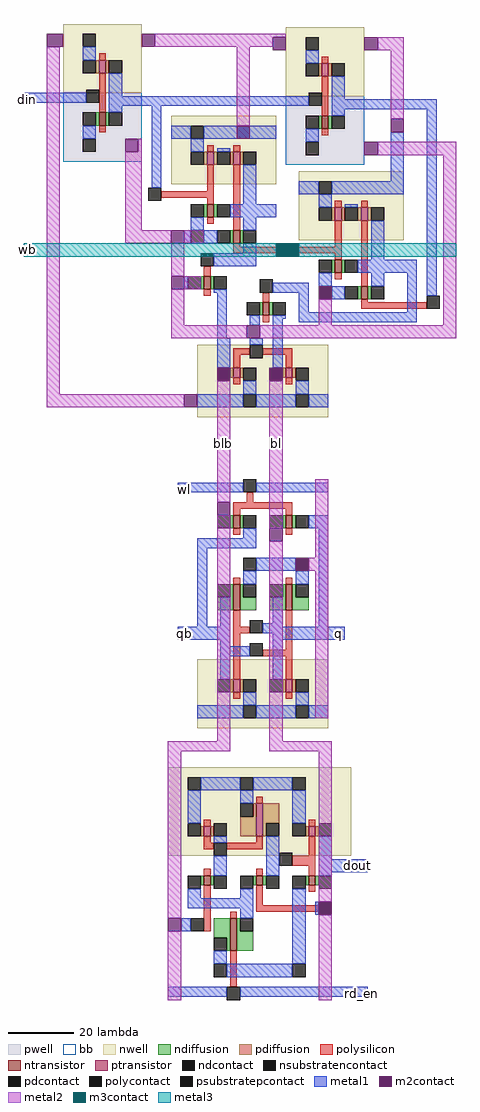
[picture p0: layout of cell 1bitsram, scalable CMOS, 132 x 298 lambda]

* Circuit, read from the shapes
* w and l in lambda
.subckt 1bitsram bl blb din dout gnd! q qb rd_en vdd! wb wl
M1 writedriver_0/inv_1/in din gnd! gnd! nfet w=4 l=2
M2 senseamp_0/2 blb senseamp_0/3 gnd! nfet w=3 l=2
M3 blb writedriver_0/nor_0/out gnd! gnd! nfet w=4 l=2
M4 writedriver_0/nor_0/out writedriver_0/inv_1/in gnd! gnd! nfet w=4 l=2
M5 senseamp_0/3 rd_en gnd! gnd! nfet w=10 l=2
M6 gnd! q qb gnd! nfet w=8 l=2
M7 qb wl blb gnd! nfet w=4 l=2
M8 writedriver_0/nor_0/out wb gnd! gnd! nfet w=4 l=2
M9 senseamp_0/out bl senseamp_0/3 gnd! nfet w=3 l=2
M10 bl writedriver_0/nor_1/out gnd! gnd! nfet w=4 l=2
M11 gnd! qb q gnd! nfet w=8 l=2
M12 q wl bl gnd! nfet w=4 l=2
M13 dout senseamp_0/out gnd! gnd! nfet w=3 l=2
M14 writedriver_0/nor_1/in1 writedriver_0/inv_1/in gnd! gnd! nfet w=4 l=2
M15 writedriver_0/nor_1/out wb gnd! gnd! nfet w=4 l=2
M16 writedriver_0/nor_1/out writedriver_0/nor_1/in1 gnd! gnd! nfet w=4 l=2
M17 writedriver_0/inv_1/in din vdd! vdd! pfet w=4 l=2
M18 senseamp_0/2 senseamp_0/2 vdd! vdd! pfet w=3 l=2
M19 writedriver_0/nor_0/temp writedriver_0/inv_1/in vdd! vdd! pfet w=4 l=2
M20 vdd! q qb vdd! pfet w=4 l=2
M21 vdd! gnd! blb vdd! pfet w=3 l=2
M22 writedriver_0/nor_0/out wb writedriver_0/nor_0/temp vdd! pfet w=4 l=2
M23 senseamp_0/out senseamp_0/2 vdd! vdd! pfet w=10 l=2
M24 vdd! qb q vdd! pfet w=4 l=2
M25 vdd! gnd! bl vdd! pfet w=3 l=2
M26 dout senseamp_0/out vdd! vdd! pfet w=3 l=2
M27 writedriver_0/nor_1/in1 writedriver_0/inv_1/in vdd! vdd! pfet w=4 l=2
M28 writedriver_0/nor_1/temp wb vdd! vdd! pfet w=4 l=2
M29 writedriver_0/nor_1/out writedriver_0/nor_1/in1 writedriver_0/nor_1/temp vdd! pfet w=4 l=2
.ends

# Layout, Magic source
magic
tech scmos
<< metal1 >>
rect -87 197 -84 200
rect -40 78 -34 81
rect -40 33 -34 37
rect 5 33 11 37
rect 13 -38 18 -34
rect 13 -76 18 -73
<< metal2 >>
rect -28 82 -24 100
rect -12 82 -8 100
rect -28 2 -24 9
rect -43 -1 -24 2
rect -12 2 -8 10
rect -12 -1 7 2
rect -43 -9 -39 -1
rect 3 -9 7 -1
<< metal3 >>
rect -87 150 -84 154
use writedriver  writedriver_0
transform 1 0 -75 0 1 182
box -9 -82 120 39
use cell6T  cell6T_0
transform -1 0 -7 0 -1 21
box -13 -61 27 15
use senseamp  senseamp_0
transform 1 0 -27 0 1 -26
box -16 -51 40 20
<< labels >>
rlabel metal2 -26 93 -26 93 1 blb
rlabel metal2 -10 93 -10 93 1 bl
rlabel metal3 -86 152 -86 152 3 wb
rlabel metal1 -86 198 -86 198 3 din
rlabel metal1 -38 79 -38 79 1 wl
rlabel metal1 -38 35 -38 35 1 qb
rlabel metal1 9 35 9 35 1 q
rlabel metal1 15 -36 15 -36 1 dout
rlabel metal1 16 -75 16 -75 1 rd_en
<< end >>

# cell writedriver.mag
magic
tech scmos
<< ntransistor >>
rect 43 -42 45 -38
rect 61 -50 63 -46
<< ndiffusion >>
rect 42 -42 43 -38
rect 45 -42 46 -38
rect 60 -50 61 -46
rect 63 -50 64 -46
<< ndcontact >>
rect 38 -42 42 -38
rect 46 -42 50 -38
rect 56 -50 60 -46
rect 64 -50 68 -46
<< polysilicon >>
rect 30 -14 33 -12
rect 43 -38 45 -35
rect 43 -44 45 -42
rect 61 -46 63 -43
rect 104 -48 111 -46
rect 61 -52 63 -50
<< polycontact >>
rect 26 -15 30 -11
rect 42 -35 46 -31
rect 65 -32 72 -28
rect 60 -43 64 -39
rect 111 -48 115 -44
<< metal1 >>
rect -9 15 0 18
rect 24 14 68 17
rect 27 -11 30 14
rect 92 13 114 16
rect 100 -13 104 6
rect 37 -28 39 -24
rect 55 -31 59 -28
rect 46 -35 59 -31
rect 104 -37 108 -33
rect 37 -42 38 -38
rect 46 -43 50 -42
rect 64 -43 75 -40
rect 47 -57 50 -43
rect 57 -53 60 -50
rect 64 -51 68 -50
rect 72 -49 75 -43
rect 105 -49 108 -37
rect 111 -44 114 13
rect 64 -57 67 -51
rect 72 -52 108 -49
<< m2contact >>
rect -5 32 0 36
rect 24 32 28 36
rect 64 31 68 35
rect 92 31 96 35
rect 19 0 23 4
rect 53 4 57 8
rect 100 6 104 10
rect 92 -1 96 3
rect 33 -28 37 -24
rect 65 -32 72 -28
rect 33 -42 37 -38
rect 56 -57 60 -53
rect 78 -45 82 -41
rect 47 -70 51 -66
rect 63 -70 67 -66
rect 37 -78 41 -74
<< metal2 >>
rect 28 35 68 36
rect 28 32 64 35
rect -5 -74 -1 32
rect 53 8 57 32
rect 96 31 104 35
rect 100 10 104 31
rect 23 0 24 4
rect 19 -24 24 0
rect 96 -1 120 3
rect 19 -28 33 -24
rect 37 -28 43 -24
rect 33 -38 37 -28
rect 37 -42 42 -38
rect 33 -53 37 -42
rect 78 -53 82 -45
rect 116 -53 120 -1
rect 33 -57 56 -53
rect 60 -57 120 -53
rect -5 -78 37 -74
rect 47 -82 51 -70
rect 63 -82 67 -70
<< m3contact >>
rect 65 -32 72 -28
<< metal3 >>
rect -9 -32 65 -28
rect 72 -32 120 -28
use inv  inv_0
transform 1 0 9 0 1 21
box -9 -21 15 18
use nor  nor_0
transform 1 0 46 0 1 -4
box -13 -27 19 15
use inv  inv_1
transform 1 0 77 0 1 20
box -9 -21 15 18
use nor  nor_1
transform 1 0 85 0 1 -21
box -13 -27 19 15
use precharge  precharge_0
transform -1 0 68 0 -1 -67
box -13 -10 27 14
<< labels >>
rlabel metal1 -8 16 -8 16 3 din
rlabel polycontact 70 -30 70 -30 1 wb
rlabel metal1 48 -52 48 -52 1 blb
rlabel metal1 65 -52 65 -52 1 bl
<< end >>

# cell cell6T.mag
magic
tech scmos
<< nwell >>
rect -13 -6 27 15
<< ntransistor >>
rect -2 -29 0 -21
rect 14 -29 16 -21
rect -2 -50 0 -46
rect 14 -50 16 -46
<< ptransistor >>
rect -2 0 0 4
rect 14 0 16 4
<< ndiffusion >>
rect -7 -25 -2 -21
rect -3 -29 -2 -25
rect 0 -25 5 -21
rect 0 -29 1 -25
rect 9 -25 14 -21
rect 13 -29 14 -25
rect 16 -25 21 -21
rect 16 -29 17 -25
rect -3 -50 -2 -46
rect 0 -50 1 -46
rect 13 -50 14 -46
rect 16 -50 17 -46
<< pdiffusion >>
rect -3 0 -2 4
rect 0 0 1 4
rect 13 0 14 4
rect 16 0 17 4
<< ndcontact >>
rect -7 -29 -3 -25
rect 1 -29 5 -25
rect 9 -29 13 -25
rect 17 -29 21 -25
rect -7 -50 -3 -46
rect 1 -50 5 -46
rect 9 -50 13 -46
rect 17 -50 21 -46
<< pdcontact >>
rect -7 0 -3 4
rect 1 0 5 4
rect 9 0 13 4
rect 17 0 21 4
<< psubstratepcontact >>
rect -7 -37 -3 -33
rect 9 -37 13 -33
<< nsubstratencontact >>
rect -7 8 -3 12
rect 9 8 13 12
<< polysilicon >>
rect -2 4 0 6
rect 14 4 16 6
rect -2 -7 0 0
rect -2 -9 7 -7
rect -2 -21 0 -9
rect 14 -14 16 0
rect 11 -16 16 -14
rect 14 -21 16 -16
rect -2 -31 0 -29
rect 14 -31 16 -29
rect -2 -46 0 -44
rect 14 -46 16 -44
rect -2 -52 0 -50
rect 14 -52 16 -50
rect -2 -54 16 -52
rect 10 -57 12 -54
<< polycontact >>
rect 7 -11 11 -7
rect 7 -18 11 -14
rect 9 -61 13 -57
<< metal1 >>
rect -13 8 -7 12
rect -3 8 9 12
rect 13 8 27 12
rect -7 4 -3 8
rect 9 4 13 8
rect 1 -12 4 0
rect 17 -7 20 0
rect 11 -10 20 -7
rect -13 -14 4 -12
rect 17 -12 20 -10
rect -13 -16 7 -14
rect -13 -46 -10 -16
rect 1 -17 7 -16
rect 1 -25 4 -17
rect 17 -16 27 -12
rect 17 -25 20 -16
rect -7 -33 -3 -29
rect 9 -33 13 -29
rect -3 -37 9 -33
rect 24 -40 27 -16
rect -13 -50 -7 -46
rect 9 -43 27 -40
rect 9 -46 13 -43
rect -13 -60 9 -57
rect 13 -60 27 -57
<< m2contact >>
rect -7 -37 -3 -33
rect 1 -46 5 -42
rect 17 -54 21 -50
<< metal2 >>
rect -13 -33 -9 12
rect -13 -37 -7 -33
rect -13 -61 -9 -37
rect 1 -42 5 12
rect 1 -61 5 -46
rect 17 -50 21 12
rect 17 -61 21 -54
<< labels >>
rlabel metal1 24 10 24 10 6 vdd!
rlabel metal2 -11 -9 -11 -9 3 gnd!
rlabel metal1 -6 -14 -6 -14 1 q
rlabel metal1 24 -14 24 -14 7 qb
rlabel metal2 3 -39 3 -39 1 bl
rlabel metal2 19 -39 19 -39 1 blb
rlabel metal1 8 -59 8 -59 1 wl
<< end >>

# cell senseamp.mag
magic
tech scmos
<< nwell >>
rect -16 -7 40 20
<< ntransistor >>
rect -5 -16 -3 -13
rect 11 -16 13 -13
rect 27 -16 29 -13
rect 3 -36 5 -26
<< ptransistor >>
rect -5 -1 -3 2
rect 11 -1 13 9
rect 27 -1 29 2
<< ndiffusion >>
rect -6 -16 -5 -13
rect -3 -16 -2 -13
rect 10 -16 11 -13
rect 13 -16 14 -13
rect 26 -16 27 -13
rect 29 -16 30 -13
rect -2 -32 3 -26
rect 2 -36 3 -32
rect 5 -30 6 -26
rect 5 -36 10 -30
<< pdiffusion >>
rect 10 5 11 9
rect -6 -1 -5 2
rect -3 -1 -2 2
rect 6 -1 11 5
rect 13 3 18 9
rect 13 -1 14 3
rect 26 -1 27 2
rect 29 -1 30 2
<< ndcontact >>
rect -10 -17 -6 -13
rect -2 -17 2 -13
rect 6 -17 10 -13
rect 14 -17 18 -13
rect 22 -17 26 -13
rect 30 -17 34 -13
rect -2 -36 2 -32
rect 6 -30 10 -26
<< pdcontact >>
rect 6 5 10 9
rect -10 -1 -6 3
rect -2 -1 2 3
rect 14 -1 18 3
rect 22 -1 26 3
rect 30 -1 34 3
<< psubstratepcontact >>
rect -2 -44 2 -40
rect 22 -44 26 -40
<< nsubstratencontact >>
rect -10 13 -6 17
rect 6 13 10 17
rect 22 13 26 17
<< polysilicon >>
rect 11 9 13 11
rect -5 2 -3 4
rect 27 2 29 4
rect -5 -3 -3 -1
rect 11 -3 13 -1
rect -5 -5 -2 -3
rect 2 -5 13 -3
rect 27 -7 29 -1
rect 22 -10 29 -7
rect -5 -13 -3 -11
rect 11 -13 13 -11
rect 27 -13 29 -10
rect -5 -30 -3 -16
rect 11 -22 13 -16
rect 27 -18 29 -16
rect 11 -24 30 -22
rect 3 -26 5 -24
rect 3 -47 5 -36
<< polycontact >>
rect -2 -7 2 -3
rect 18 -10 22 -6
rect -9 -30 -5 -26
rect 30 -25 34 -21
rect 2 -51 6 -47
<< metal1 >>
rect -6 13 6 17
rect 10 13 22 17
rect -10 3 -6 13
rect 6 9 10 13
rect 22 3 26 13
rect -2 -3 2 -1
rect -2 -13 2 -7
rect 14 -13 18 -1
rect 30 -8 34 -1
rect 30 -12 40 -8
rect 30 -13 34 -12
rect -10 -20 -6 -17
rect 6 -20 10 -17
rect -10 -23 10 -20
rect 6 -26 10 -23
rect -12 -30 -9 -26
rect -2 -40 2 -36
rect 22 -40 26 -17
rect 29 -25 30 -21
rect 2 -44 22 -40
rect -16 -50 2 -47
rect 6 -50 40 -47
<< m2contact >>
rect -16 -30 -12 -26
rect 30 -25 34 -21
<< metal2 >>
rect -16 -26 -12 17
rect -16 -51 -12 -30
rect 30 -21 34 17
rect 30 -51 34 -25
<< labels >>
rlabel metal1 2 15 2 15 5 vdd!
rlabel metal1 12 -42 12 -42 1 gnd!
rlabel m2contact -13 -28 -13 -28 3 blb
rlabel metal1 37 -10 37 -10 7 dout
rlabel metal1 0 -9 0 -9 1 2
rlabel metal1 16 -9 16 -9 1 out
rlabel metal1 8 -22 8 -22 1 3
rlabel metal2 32 -28 32 -28 1 bl
rlabel metal1 12 -49 12 -49 1 rd_en
<< end >>

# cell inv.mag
magic
tech scmos
<< nwell >>
rect -9 -3 15 18
<< pwell >>
rect -9 -24 15 -3
<< ntransistor >>
rect 2 -13 4 -9
<< ptransistor >>
rect 2 3 4 7
<< ndiffusion >>
rect 1 -13 2 -9
rect 4 -13 5 -9
<< pdiffusion >>
rect 1 3 2 7
rect 4 3 5 7
<< ndcontact >>
rect -3 -13 1 -9
rect 5 -13 9 -9
<< pdcontact >>
rect -3 3 1 7
rect 5 3 9 7
<< psubstratepcontact >>
rect -3 -21 1 -17
<< nsubstratencontact >>
rect -3 11 1 15
<< polysilicon >>
rect 2 7 4 9
rect 2 -9 4 3
rect 2 -15 4 -13
<< polycontact >>
rect -2 -6 2 -2
<< metal1 >>
rect -3 7 1 11
rect -9 -6 -2 -3
rect 5 -4 9 3
rect 5 -7 15 -4
rect 5 -9 9 -7
rect -3 -17 1 -13
<< bb >>
rect -9 -24 15 18
<< labels >>
rlabel metal1 12 -5 12 -5 4 out
rlabel metal1 -6 -4 -6 -4 4 in
rlabel metal1 -1 9 -1 9 1 vdd!
rlabel metal1 -1 -15 -1 -15 1 gnd!
<< end >>

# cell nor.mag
magic
tech scmos
<< nwell >>
rect -13 -6 19 15
<< ntransistor >>
rect -2 -16 0 -12
rect 6 -24 8 -20
<< ptransistor >>
rect -2 0 0 4
rect 6 0 8 4
<< ndiffusion >>
rect -3 -16 -2 -12
rect 0 -16 1 -12
rect 5 -24 6 -20
rect 8 -24 9 -20
<< pdiffusion >>
rect -3 0 -2 4
rect 0 0 1 4
rect 5 0 6 4
rect 8 0 9 4
<< ndcontact >>
rect -7 -16 -3 -12
rect 1 -16 5 -12
rect 1 -24 5 -20
rect 9 -24 13 -20
<< pdcontact >>
rect -7 0 -3 4
rect 1 0 5 4
rect 9 0 13 4
<< psubstratepcontact >>
rect -7 -24 -3 -20
<< nsubstratencontact >>
rect -7 8 -3 12
<< polysilicon >>
rect -2 4 0 6
rect 6 4 8 6
rect -2 -8 0 0
rect -13 -10 0 -8
rect -2 -12 0 -10
rect -2 -18 0 -16
rect 6 -20 8 0
rect 6 -25 8 -24
rect 6 -27 19 -25
<< metal1 >>
rect -13 8 -7 12
rect -3 8 19 12
rect -7 4 -3 8
rect 1 4 5 5
rect 9 -12 13 0
rect 5 -16 19 -12
rect -7 -20 -3 -16
rect 9 -20 13 -16
rect -3 -24 1 -20
<< labels >>
rlabel metal1 3 10 3 10 5 vdd!
rlabel metal1 -1 -22 -1 -22 1 gnd!
rlabel polysilicon -1 -9 -1 -9 1 in2
rlabel polysilicon 7 -9 7 -9 1 in1
rlabel metal1 16 -14 16 -14 7 out
rlabel pdcontact 3 2 3 2 1 temp
<< end >>

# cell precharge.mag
magic
tech scmos
<< nwell >>
rect -13 -8 27 14
<< ptransistor >>
rect -2 -1 0 2
rect 14 -1 16 2
<< pdiffusion >>
rect -3 -1 -2 2
rect 0 -1 1 2
rect 13 -1 14 2
rect 16 -1 17 2
<< pdcontact >>
rect -7 -1 -3 3
rect 1 -1 5 3
rect 9 -1 13 3
rect 17 -1 21 3
<< nsubstratencontact >>
rect -7 7 -3 11
rect 9 7 13 11
<< polysilicon >>
rect -2 2 0 4
rect 14 2 16 4
rect -2 -5 0 -1
rect -2 -7 7 -5
rect 14 -5 16 -1
rect 11 -7 16 -5
<< polycontact >>
rect 7 -8 11 -4
<< metal1 >>
rect -13 7 -7 11
rect -3 7 9 11
rect 13 7 27 11
rect -7 3 -3 7
rect 9 3 13 7
rect 1 -10 4 -1
rect 7 -10 11 -8
rect 17 -10 21 -1
<< labels >>
rlabel metal1 5 9 5 9 5 vdd!
rlabel metal1 2 -9 2 -9 1 bl
rlabel metal1 19 -9 19 -9 1 blb
rlabel metal1 9 -9 9 -9 1 gnd!
<< end >>
